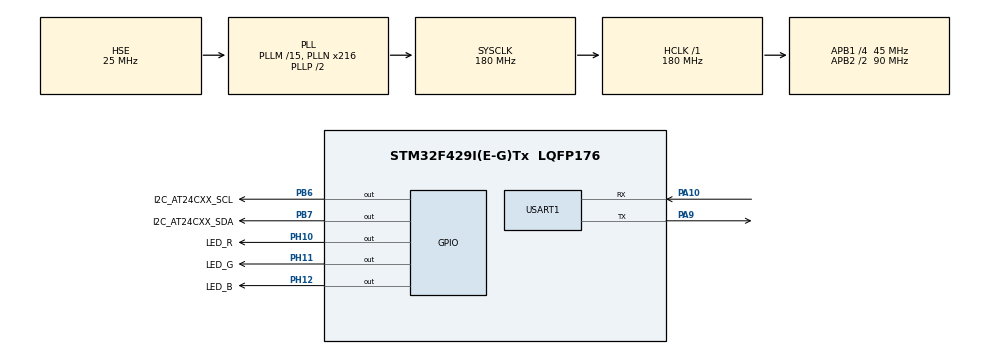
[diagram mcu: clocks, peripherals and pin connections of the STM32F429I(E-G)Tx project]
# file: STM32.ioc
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Dma.Request0=USART1_TX
Dma.Request1=USART1_RX
Dma.USART1_RX.1.Direction=DMA_PERIPH_TO_MEMORY
Dma.USART1_RX.1.FIFOMode=DMA_FIFOMODE_DISABLE
Dma.USART1_RX.1.Instance=DMA2_Stream2
Dma.USART1_RX.1.MemDataAlignment=DMA_MDATAALIGN_BYTE
Dma.USART1_RX.1.MemInc=DMA_MINC_ENABLE
Dma.USART1_RX.1.Mode=DMA_NORMAL
Dma.USART1_RX.1.PeriphDataAlignment=DMA_PDATAALIGN_BYTE
Dma.USART1_RX.1.PeriphInc=DMA_PINC_DISABLE
Dma.USART1_RX.1.Priority=DMA_PRIORITY_LOW
Dma.USART1_TX.0.Direction=DMA_MEMORY_TO_PERIPH
Dma.USART1_TX.0.FIFOMode=DMA_FIFOMODE_DISABLE
Dma.USART1_TX.0.Instance=DMA2_Stream7
Dma.USART1_TX.0.MemDataAlignment=DMA_MDATAALIGN_BYTE
Dma.USART1_TX.0.MemInc=DMA_MINC_ENABLE
Dma.USART1_TX.0.Mode=DMA_NORMAL
Dma.USART1_TX.0.PeriphDataAlignment=DMA_PDATAALIGN_BYTE
Dma.USART1_TX.0.PeriphInc=DMA_PINC_DISABLE
Dma.USART1_TX.0.Priority=DMA_PRIORITY_LOW
Mcu.Family=STM32F4
Mcu.Name=STM32F429I(E-G)Tx
Mcu.Package=LQFP176
NVIC.PriorityGroup=NVIC_PRIORITYGROUP_1
NVIC.USART1_IRQn=true\:0\:0\:false\:false\:true\:true\:true\:true
PA10.Mode=Asynchronous
PA10.Signal=USART1_RX
PA9.Mode=Asynchronous
PA9.Signal=USART1_TX
PB6.GPIO_Label=I2C_AT24CXX_SCL
PB6.GPIO_ModeDefaultOutputPP=GPIO_MODE_OUTPUT_PP
PB6.GPIO_PuPd=GPIO_PULLUP
PB6.GPIO_Speed=GPIO_SPEED_FREQ_HIGH
PB6.PinState=GPIO_PIN_SET
PB6.Signal=GPIO_Output
PB7.GPIO_Label=I2C_AT24CXX_SDA
PB7.GPIO_ModeDefaultOutputPP=GPIO_MODE_OUTPUT_PP
PB7.GPIO_PuPd=GPIO_PULLUP
PB7.GPIO_Speed=GPIO_SPEED_FREQ_HIGH
PB7.PinState=GPIO_PIN_SET
PB7.Signal=GPIO_Output
PC14/OSC32_IN.Mode=LSE-External-Oscillator
PC14/OSC32_IN.Signal=RCC_OSC32_IN
PC15/OSC32_OUT.Mode=LSE-External-Oscillator
PC15/OSC32_OUT.Signal=RCC_OSC32_OUT
PH0/OSC_IN.Mode=HSE-External-Oscillator
PH0/OSC_IN.Signal=RCC_OSC_IN
PH1/OSC_OUT.Mode=HSE-External-Oscillator
PH1/OSC_OUT.Signal=RCC_OSC_OUT
PH10.GPIO_Label=LED_R
PH10.PinState=GPIO_PIN_SET
PH10.Signal=GPIO_Output
PH11.GPIO_Label=LED_G
PH11.PinState=GPIO_PIN_SET
PH11.Signal=GPIO_Output
PH12.GPIO_Label=LED_B
PH12.PinState=GPIO_PIN_SET
PH12.Signal=GPIO_Output
ProjectManager.HeapSize=0x200
ProjectManager.StackSize=0x400
ProjectManager.TargetToolchain=MDK-ARM V5.27
RCC.48MHZClocksFreq_Value=90000000
RCC.AHBFreq_Value=180000000
RCC.APB1CLKDivider=RCC_HCLK_DIV4
RCC.APB1Freq_Value=45000000
RCC.APB1TimFreq_Value=90000000
RCC.APB2CLKDivider=RCC_HCLK_DIV2
RCC.APB2Freq_Value=90000000
RCC.APB2TimFreq_Value=180000000
RCC.CortexFreq_Value=180000000
RCC.HCLKFreq_Value=180000000
RCC.HSE_VALUE=25000000
RCC.HSI_VALUE=16000000
RCC.PLLM=15
RCC.PLLN=216
RCC.PLLSourceVirtual=RCC_PLLSOURCE_HSE
RCC.SYSCLKFreq_VALUE=180000000
RCC.SYSCLKSource=RCC_SYSCLKSOURCE_PLLCLK
RCC.VCOOutputFreq_Value=360000000
USART1.VirtualMode=VM_ASYNC
board=custom

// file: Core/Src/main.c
/* USER CODE BEGIN Header */
/**
  ******************************************************************************
  * @file           : main.c
  * @brief          : Main program body
  ******************************************************************************
  * @attention
  *
  * Copyright (c) 2022 STMicroelectronics.
  * All rights reserved.
  *
  * This software is licensed under terms that can be found in the LICENSE file
  * in the root directory of this software component.
  * If no LICENSE file comes with this software, it is provided AS-IS.
  *
  ******************************************************************************
  */
/* USER CODE END Header */
#include "main.h"
#include "dma.h"
#include "usart.h"
#include "gpio.h"

/* USER CODE BEGIN PV */
i2c_obj_t i2c_at24cxx;
at24cxx_obj_t at24c02;
/* USER CODE END PV */

void SystemClock_Config(void);
/* USER CODE BEGIN PFP */
static en_i2c_status_t I_I2C_Init_Pin_Func(en_i2c_pin_t e_pin);
static en_i2c_status_t I_I2C_Config_Pin_Mode_Func(en_i2c_pin_t e_pin, en_i2c_pin_mode_t e_pin_mode);
static en_i2c_pin_status_t I_I2C_Read_Pin_Func(en_i2c_pin_t e_pin);
static en_i2c_status_t I_I2C_Write_Pin_Func(en_i2c_pin_t e_pin, en_i2c_pin_status_t e_pin_status);
static en_i2c_status_t I_I2C_Delay_us_Func(uint32_t us);

en_at24cxx_status_t I_AT24CXX_Init_Func(void);
en_at24cxx_status_t I_AT24CXX_Send_Func(const uint8_t *p_send_buff, uint32_t length, en_at24cxx_start_t e_start_status, en_at24cxx_stop_t e_stop_status);
en_at24cxx_status_t I_AT24CXX_Receive_Func(uint8_t *p_receive_buff, uint32_t length, en_at24cxx_start_t e_start_status, en_at24cxx_stop_t e_stop_status);

/* USER CODE END PFP */

int main(void)
{
    /* USER CODE BEGIN 1 */

    /* 设置中断向量表 */
    NVIC_SET_VECTOR(VECT_TAB_FLASH_BASE_ADDRESS, VECT_TAB_OFFSET);

    /* USER CODE END 1 */

    /* MCU Configuration--------------------------------------------------------*/

    /* Reset of all peripherals, Initializes the Flash interface and the Systick. */
    HAL_Init();

    /* Configure the system clock */
    SystemClock_Config();

    /* Initialize all configured peripherals */
    MX_GPIO_Init();
    MX_DMA_Init();
    MX_USART1_UART_Init();
    /* USER CODE BEGIN 2 */

    {
        at24cxx_interface_func_t at24c02_interface = {I_AT24CXX_Init_Func, I_AT24CXX_Send_Func, I_AT24CXX_Receive_Func};
        AT24CXX_Init(&at24c02, &at24c02_interface);
    }
    static uint8_t send_buff[256] = {0};
    static uint8_t receive_buff[256] = {0};

    AT24CXX_Test(&at24c02, send_buff, receive_buff);

    /* USER CODE END 2 */

    /* Infinite loop */
    while (1)
    {

        /* USER CODE BEGIN 3 */
        HAL_GPIO_TogglePin(LED_G_GPIO_Port, LED_G_Pin);
        HAL_Delay(100);
        printf("Hello ");
        USART1_Printf("World\r\n");

    }
    /* USER CODE END 3 */
}

void SystemClock_Config(void)
{
    RCC_OscInitTypeDef RCC_OscInitStruct = {0};
    RCC_ClkInitTypeDef RCC_ClkInitStruct = {0};

    /** Configure the main internal regulator output voltage
    */
    __HAL_RCC_PWR_CLK_ENABLE();
    __HAL_PWR_VOLTAGESCALING_CONFIG(PWR_REGULATOR_VOLTAGE_SCALE1);

    /** Initializes the RCC Oscillators according to the specified parameters
    * in the RCC_OscInitTypeDef structure.
    */
    RCC_OscInitStruct.OscillatorType = RCC_OSCILLATORTYPE_HSE;
    RCC_OscInitStruct.HSEState = RCC_HSE_ON;
    RCC_OscInitStruct.PLL.PLLState = RCC_PLL_ON;
    RCC_OscInitStruct.PLL.PLLSource = RCC_PLLSOURCE_HSE;
    RCC_OscInitStruct.PLL.PLLM = 15;
    RCC_OscInitStruct.PLL.PLLN = 216;
    RCC_OscInitStruct.PLL.PLLP = RCC_PLLP_DIV2;
    RCC_OscInitStruct.PLL.PLLQ = 4;
    if (HAL_RCC_OscConfig(&RCC_OscInitStruct) != HAL_OK)
    {
        Error_Handler();
    }

    /** Activate the Over-Drive mode
    */
    if (HAL_PWREx_EnableOverDrive() != HAL_OK)
    {
        Error_Handler();
    }

    /** Initializes the CPU, AHB and APB buses clocks
    */
    RCC_ClkInitStruct.ClockType = RCC_CLOCKTYPE_HCLK | RCC_CLOCKTYPE_SYSCLK
                                  | RCC_CLOCKTYPE_PCLK1 | RCC_CLOCKTYPE_PCLK2;
    RCC_ClkInitStruct.SYSCLKSource = RCC_SYSCLKSOURCE_PLLCLK;
    RCC_ClkInitStruct.AHBCLKDivider = RCC_SYSCLK_DIV1;
    RCC_ClkInitStruct.APB1CLKDivider = RCC_HCLK_DIV4;
    RCC_ClkInitStruct.APB2CLKDivider = RCC_HCLK_DIV2;

    if (HAL_RCC_ClockConfig(&RCC_ClkInitStruct, FLASH_LATENCY_5) != HAL_OK)
    {
        Error_Handler();
    }
}

/* USER CODE BEGIN 4 */

/**
  * @brief   初始化 I2C 引脚
  * @note    该函数应开启 GPIO 的时钟
  * @param   e_pin: I2C 的引脚选择
  *   @arg     EN_I2C_PIN_SCL: SCL引脚
  *   @arg     EN_I2C_PIN_SDA: SDA引脚
  * @return  en_i2c_status_t
  */
static en_i2c_status_t I_I2C_Init_Pin_Func(en_i2c_pin_t e_pin)
{
    /* 该函数应该开启 GPIO 的时钟 */
    __HAL_RCC_GPIOB_CLK_ENABLE();

    return EN_I2C_OK;
}

/**
  * @brief   设置 I2C 引脚模式
  * @note    该函数应提供配置 GPIO 工作模式的接口
  * @param   e_pin: I2C 的引脚选择
  *   @arg     EN_I2C_PIN_SCL: SCL引脚
  *   @arg     EN_I2C_PIN_SDA: SDA引脚
  * @param   e_pin_mode: I2C 的引脚模式
  *   @arg     EN_I2C_PIN_MODE_OUTPUT: 上拉输出模式
  *   @arg     EN_I2C_PIN_MODE_INPUT: 浮空输入模式
  * @return  en_i2c_status_t
  */
static en_i2c_status_t I_I2C_Config_Pin_Mode_Func(en_i2c_pin_t e_pin, en_i2c_pin_mode_t e_pin_mode)
{
    GPIO_InitTypeDef GPIO_InitStruct = {0};

    if (e_pin == EN_I2C_PIN_SCL)
    {
        GPIO_InitStruct.Pin = I2C_AT24CXX_SCL_Pin;
    }
    else
    {
        GPIO_InitStruct.Pin = I2C_AT24CXX_SDA_Pin;
    }

    if (e_pin_mode == EN_I2C_PIN_MODE_OUTPUT)
    {
        GPIO_InitStruct.Mode = GPIO_MODE_OUTPUT_PP;
    }
    else
    {
        GPIO_InitStruct.Mode = GPIO_MODE_INPUT;
    }

    GPIO_InitStruct.Pull = GPIO_PULLUP;
    GPIO_InitStruct.Speed = GPIO_SPEED_FREQ_HIGH;
    HAL_GPIO_Init(GPIOB, &GPIO_InitStruct);

    return EN_I2C_OK;
}

/**
  * @brief   读取 I2C 引脚的状态
  * @note    该函数应提供获取 GPIO 引脚电平状态的接口
  * @param   e_pin: I2C 的引脚选择
  *   @arg     EN_I2C_PIN_SCL: SCL引脚
  *   @arg     EN_I2C_PIN_SDA: SDA引脚
  * @return  en_i2c_pin_status_t
  */
static en_i2c_pin_status_t I_I2C_Read_Pin_Func(en_i2c_pin_t e_pin)
{
    if (e_pin == EN_I2C_PIN_SCL)
    {
        return (en_i2c_pin_status_t)HAL_GPIO_ReadPin(I2C_AT24CXX_SCL_GPIO_Port, I2C_AT24CXX_SCL_Pin);
    }
    else
    {
        return (en_i2c_pin_status_t)HAL_GPIO_ReadPin(I2C_AT24CXX_SDA_GPIO_Port, I2C_AT24CXX_SDA_Pin);
    }
}

/**
  * @brief   写入 I2C 引脚的状态
  * @note    该函数应提供设置 GPIO 引脚电平状态的接口
  * @param   e_pin: I2C 的引脚选择
  *   @arg     EN_I2C_PIN_SCL: SCL引脚
  *   @arg     EN_I2C_PIN_SDA: SDA引脚
  * @param   e_pin_status: I2C 的引脚状态选择
  *   @arg     EN_I2C_RESET: 低电平
  *   @arg     EN_I2C_SET: 高电平
  * @return  en_i2c_status_t
  */
static en_i2c_status_t I_I2C_Write_Pin_Func(en_i2c_pin_t e_pin, en_i2c_pin_status_t e_pin_status)
{
    if (e_pin == EN_I2C_PIN_SCL)
    {
        HAL_GPIO_WritePin(I2C_AT24CXX_SCL_GPIO_Port, I2C_AT24CXX_SCL_Pin, (GPIO_PinState)e_pin_status);
    }
    else
    {
        HAL_GPIO_WritePin(I2C_AT24CXX_SDA_GPIO_Port, I2C_AT24CXX_SDA_Pin, (GPIO_PinState)e_pin_status);
    }

    return EN_I2C_OK;
}

/**
  * @brief   微秒级延迟
  * @note    该函数应提供微秒级延迟的接口
  * @param   us: 微秒值
  * @return  en_i2c_status_t
  */
static en_i2c_status_t I_I2C_Delay_us_Func(uint32_t us)
{
    uint32_t delay = us * SystemCoreClock / 1000000;
    do
    {
        __NOP;
    } while (delay--);

    return EN_I2C_OK;
}

/**
  * @brief   AT24CXX 初始化
  * @note    该函数应初始化与 AT24CXX 通信的接口, 如 I2C
  * @param   None
  * @return  en_at24cxx_status_t
  */
static en_at24cxx_status_t I_AT24CXX_Init_Func(void)
{
    i2c_interface_func_t i2c_interface = {I_I2C_Init_Pin_Func, I_I2C_Config_Pin_Mode_Func, I_I2C_Read_Pin_Func, I_I2C_Write_Pin_Func, I_I2C_Delay_us_Func};
    I2C_Init(&i2c_at24cxx, &i2c_interface, EN_I2C_SPEED_250KHZ);

    return EN_AT24CXX_ACK;
}

/**
  * @brief   向 AT24CXX 发送 p_send_buff 中的数据
  * @note    该函数实现与 AT24CXX 进行数据的发送, 如使用与 AT24CXX 通信的接口, 如 I2C
  * @param   p_send_buff: 发送缓冲区起始地址
  * @param   length: 发送的数据长度, 单位: 字节
  * @param   e_start_status: 本次通信前是否发送起始信号
  *            @arg EN_AT24CXX_GENETATE_START: 发送起始信号
  *            @arg EN_AT24CXX_NOT_GENETATE_START: 不发送起始信号
  * @param   e_stop_status: 本次通信后是否发送停止信号
  *            @arg EN_AT24CXX_GENETATE_STOP: 发送停止信号
  *            @arg EN_AT24CXX_NOT_GENETATE_STOP: 不发送停止信号
  * @return  en_at24cxx_status_t
  */
static en_at24cxx_status_t I_AT24CXX_Send_Func(const uint8_t *p_send_buff, uint32_t length, en_at24cxx_start_t e_start_status, en_at24cxx_stop_t e_stop_status)
{
    en_i2c_status_t status = EN_I2C_OK;
    /* 发送起始信号 */
    if (e_start_status == EN_AT24CXX_GENETATE_START)
    {
        status = I2C_Start(&i2c_at24cxx);
        if (status != EN_I2C_OK)
        {
            return EN_AT24CXX_ERROR;
        }
    }
    /* 发送数据 */
    status = I2C_Write_With_Ack(&i2c_at24cxx, p_send_buff, length);

    /* 发送停止信号 */
    if (e_stop_status == EN_AT24CXX_GENETATE_STOP)
    {
        status = I2C_Stop(&i2c_at24cxx);
        if ( status != EN_I2C_OK)
        {
            return EN_AT24CXX_ERROR;
        }
    }
    return EN_AT24CXX_ACK;
}

/**
  * @brief   从 AT24CXX 接收数据到 p_receive_buff
  * @note    该函数实现与 AT24CXX 进行数据的接收, 如使用与 AT24CXX 通信的接口, 如 I2C
  * @param   p_receive_buff: 接收缓冲区起始地址
  * @param   length: 接收的数据长度, 单位: 字节
  * @param   e_start_status: 本次通信前是否发送起始信号
  *            @arg EN_AT24CXX_GENETATE_START: 发送起始信号
  *            @arg EN_AT24CXX_NOT_GENETATE_START: 不发送起始信号
  * @param   e_stop_status: 本次通信后是否发送停止信号
  *            @arg EN_AT24CXX_GENETATE_STOP: 发送停止信号
  *            @arg EN_AT24CXX_NOT_GENETATE_STOP: 不发送停止信号
  * @return  en_at24cxx_status_t
  */
static en_at24cxx_status_t I_AT24CXX_Receive_Func(uint8_t *p_receive_buff, uint32_t length, en_at24cxx_start_t e_start_status, en_at24cxx_stop_t e_stop_status)
{
    en_i2c_status_t status = EN_I2C_OK;
    /* 发送起始信号 */
    if (e_start_status == EN_AT24CXX_GENETATE_START)
    {
        status = I2C_Start(&i2c_at24cxx);
        if (status != EN_I2C_OK)
        {
            return EN_AT24CXX_ERROR;
        }
    }
    /* 接收数据 */
    status = I2C_Read_With_Ack(&i2c_at24cxx, p_receive_buff, length);

    /* 发送停止信号 */
    if (e_stop_status == EN_AT24CXX_GENETATE_STOP)
    {
        status = I2C_Stop(&i2c_at24cxx);
        if ( status != EN_I2C_OK)
        {
            return EN_AT24CXX_ERROR;
        }
    }
    return EN_AT24CXX_ACK;
}

/* USER CODE END 4 */

void Error_Handler(void)
{
    __disable_irq();
    while (1)
    {
    }
}
